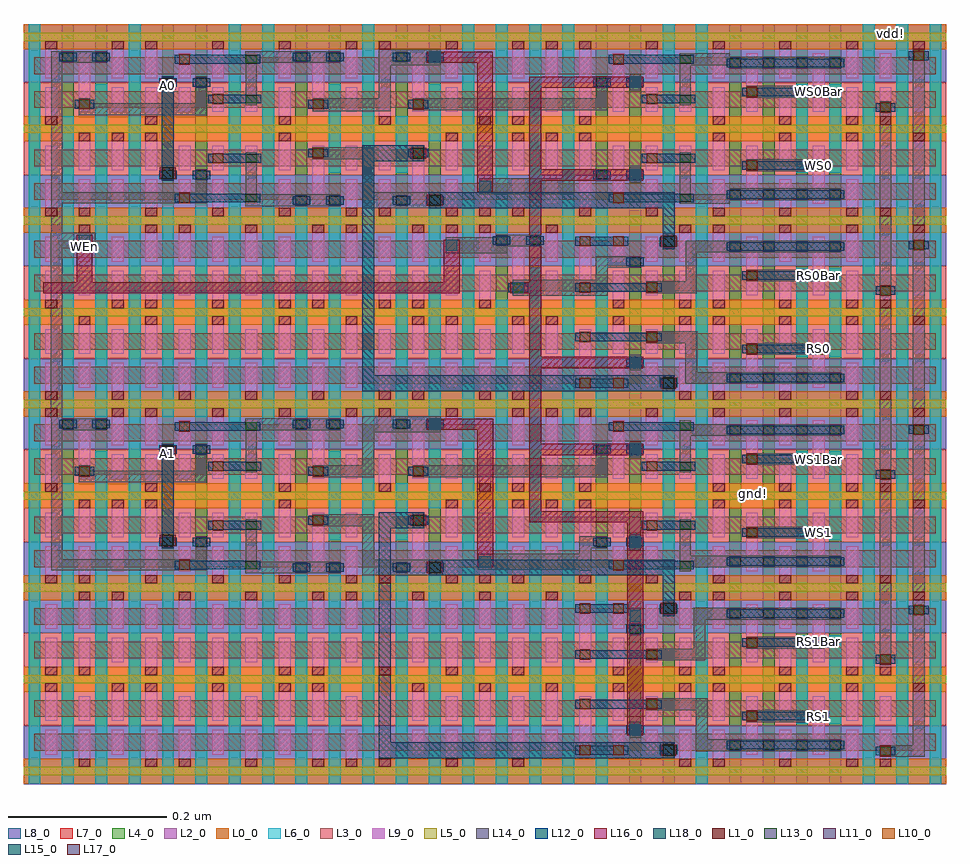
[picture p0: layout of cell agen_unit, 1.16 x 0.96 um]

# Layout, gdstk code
from math import pi, radians
import gdstk
lib = gdstk.Library(unit=1e-6, precision=5e-10)
def R(c, l, rs):  # rectangles x0, y0, x1, y1
    for r in rs: c.add(gdstk.rectangle(r[:2], r[2:], *l))
def A(c, l, x, y, w, h, nx, ny, dx, dy):  # array of equal rectangles
    R(c, l, [(x+i*dx, y+j*dy, x+i*dx+w, y+j*dy+h) for i in range(nx) for j in range(ny)])
L0_0 = (0, 0)
L1_0 = (1, 0)
L2_0 = (2, 0)
L3_0 = (3, 0)
L4_0 = (4, 0)
L5_0 = (5, 0)
L6_0 = (6, 0)
L7_0 = (7, 0)
L8_0 = (8, 0)
L9_0 = (9, 0)
L10_0 = (10, 0)
L11_0 = (11, 0)
L12_0 = (12, 0)
L13_0 = (13, 0)
L14_0 = (14, 0)
L15_0 = (15, 0)
L16_0 = (16, 0)
L17_0 = (17, 0)
L18_0 = (18, 0)

nmos = lib.new_cell('nmos')
R(nmos, L3_0, [(-0.042,-0.0105,0.042,0.0105)])
A(nmos, L4_0, -0.0495, -0.032, 0.015, 0.064, 3, 1, 0.042, 0)
R(nmos, L7_0, [(-0.0555,-0.021,0.0555,0.0205)])
R(nmos, L9_0, [(-0.0285,-0.0155,-0.0135,0.0155), (0.0135,-0.0155,0.0285,0.0155)])

pmos = lib.new_cell('pmos')
R(pmos, L2_0, [(-0.042,-0.0205,0.042,0.0205)])
R(pmos, L3_0, [(-0.042,-0.0105,0.042,0.0105)])
A(pmos, L4_0, -0.0495, -0.032, 0.015, 0.064, 3, 1, 0.042, 0)
R(pmos, L8_0, [(-0.0555,-0.0205,0.0555,0.0205)])
R(pmos, L9_0, [(-0.0285,-0.0155,-0.0135,0.0155), (0.0135,-0.0155,0.0285,0.0155)])

bpr_m0a = lib.new_cell('BPR_M0A')
R(bpr_m0a, L0_0, [(-0.021,-0.0055,0.021,0.026)])
R(bpr_m0a, L1_0, [(-0.0075,-0.0055,0.0075,0.005)])
R(bpr_m0a, L9_0, [(-0.0075,-0.0165,0.0075,0.005)])

m0a_m0b = lib.new_cell('M0A_M0B')
R(m0a_m0b, L9_0, [(-0.0075,-0.0055,0.0075,0.0055)])
R(m0a_m0b, L10_0, [(-0.0065,-0.0065,0.0065,0.0065)])
R(m0a_m0b, L12_0, [(-0.0125,-0.0055,0.0125,0.0055)])

gate_m0b = lib.new_cell('GATE_M0B')
R(gate_m0b, L4_0, [(-0.0075,-0.0115,0.0075,0.0115)])
R(gate_m0b, L11_0, [(-0.0075,-0.0065,0.0075,0.0065)])
R(gate_m0b, L12_0, [(-0.011,-0.0055,0.011,0.0055)])

m0b_m1 = lib.new_cell('M0B_M1')
R(m0b_m1, L12_0, [(-0.011,-0.005,0.011,0.005)])
R(m0b_m1, L13_0, [(-0.007,-0.005,0.007,0.005)])
R(m0b_m1, L14_0, [(-0.007,-0.0075,0.007,0.0075)])

inv = lib.new_cell('inv')
R(inv, L0_0, [(0,0,0.153,0.0315), (0.025,0.006,0.0415,0.016), (0,0.1155,0.153,0.147), (0.11,0.131,0.125,0.1425)])
R(inv, L2_0, [(0,0.0745,0.153,0.147)])
A(inv, L4_0, 0.006, 0, 0.015, 0.147, 4, 1, 0.042, 0)
R(inv, L5_0, [(0,0.0105,0.153,0.021), (0,0.126,0.153,0.1365)])
R(inv, L6_0, [(0.006,0,0.021,0.147), (0.09,0,0.105,0.0715), (0.132,0,0.147,0.147)])
R(inv, L7_0, [(0,0,0.153,0.0745)])
R(inv, L8_0, [(0,0.075,0.153,0.1475)])
R(inv, L9_0, [(0.069,0.068,0.084,0.0795)])
R(inv, L12_0, [(0.0915,0.103,0.1055,0.1095)])
R(inv, L14_0, [(0.071,0.0415,0.0815,0.051), (0.0485,0.0985,0.1045,0.1135)])
inv.add(gdstk.Reference(nmos, (0.0975,0.0525)))
inv.add(gdstk.Reference(nmos, (0.0555,0.0525)))
inv.add(gdstk.Reference(pmos, (0.0975,0.095)))
inv.add(gdstk.Reference(pmos, (0.0555,0.095)))
inv.add(gdstk.Reference(bpr_m0a, (0.0345,0.026), rotation=pi))
inv.add(gdstk.Reference(bpr_m0a, (0.0345,0.121)))
inv.add(gdstk.Reference(bpr_m0a, (0.1185,0.121)))
inv.add(gdstk.Reference(m0a_m0b, (0.0765,0.0465)))
inv.add(gdstk.Reference(gate_m0b, (0.0555,0.106)))
inv.add(gdstk.Reference(gate_m0b, (0.0975,0.106)))
inv.add(gdstk.Reference(m0b_m1, (0.0555,0.106)))
inv.add(gdstk.Reference(m0b_m1, (0.0765,0.0465)))
inv.add(gdstk.Reference(m0b_m1, (0.0975,0.106)))
inv.add(gdstk.Label('vdd!', (0.1175,0.1365), layer=0, texttype=0))
inv.add(gdstk.Label('gnd!', (0.033,0.011), layer=0, texttype=0))
inv.add(gdstk.Label('out', (0.075,0.0435), layer=14, texttype=0))
inv.add(gdstk.Label('in', (0.0985,0.1045), layer=14, texttype=0))

nand = lib.new_cell('nand')
R(nand, L0_0, [(0.1045,0.057,0.2155,0.0885), (0.1465,0.057,0.2995,0.0885), (0.133,0.0665,0.142,0.074), (0.1045,0.1725,0.2155,0.204), (0.1465,0.1725,0.2995,0.204), (0.137,0.192,0.143,0.198)])
R(nand, L2_0, [(0.1045,0.1315,0.2155,0.204), (0.1465,0.1315,0.2995,0.204)])
A(nand, L4_0, 0.1105, 0.057, 0.015, 0.147, 5, 1, 0.042, 0)
R(nand, L4_0, [(0.2785,0.057,0.2935,0.204)])
R(nand, L5_0, [(0.1045,0.0675,0.2995,0.078), (0.1045,0.183,0.2995,0.1935)])
R(nand, L6_0, [(0.1105,0.057,0.1255,0.204), (0.2365,0.057,0.2515,0.204), (0.2785,0.057,0.2935,0.204)])
R(nand, L7_0, [(0.1045,0.057,0.2155,0.1315), (0.1465,0.057,0.2995,0.1315)])
R(nand, L8_0, [(0.1045,0.132,0.2155,0.2045), (0.1465,0.133,0.2995,0.2045)])
R(nand, L12_0, [(0.2105,0.1045,0.2775,0.1155), (0.1685,0.1545,0.276,0.1655)])
R(nand, L14_0, [(0.258,0.1025,0.272,0.1675), (0.1575,0.129,0.162,0.134), (0.2,0.1295,0.204,0.133), (0.262,0.1575,0.2675,0.1625)])
nand.add(gdstk.Reference(nmos, (0.244,0.1095), rotation=pi, x_reflection=True))
nand.add(gdstk.Reference(nmos, (0.16,0.1095), rotation=pi, x_reflection=True))
nand.add(gdstk.Reference(pmos, (0.16,0.152), rotation=pi, x_reflection=True))
nand.add(gdstk.Reference(pmos, (0.202,0.152), rotation=pi, x_reflection=True))
nand.add(gdstk.Reference(pmos, (0.244,0.152), rotation=pi, x_reflection=True))
nand.add(gdstk.Reference(bpr_m0a, (0.139,0.178), rotation=pi, x_reflection=True))
nand.add(gdstk.Reference(bpr_m0a, (0.139,0.083), x_reflection=True))
nand.add(gdstk.Reference(bpr_m0a, (0.223,0.178), rotation=pi, x_reflection=True))
nand.add(gdstk.Reference(m0a_m0b, (0.181,0.16)))
nand.add(gdstk.Reference(m0a_m0b, (0.223,0.11)))
nand.add(gdstk.Reference(m0b_m1, (0.265,0.16)))
nand.add(gdstk.Reference(m0b_m1, (0.265,0.11)))
nand.add(gdstk.Reference(m0b_m1, (0.202,0.131)))
nand.add(gdstk.Reference(m0b_m1, (0.16,0.131)))
nand.add(gdstk.Reference(gate_m0b, (0.202,0.131)))
nand.add(gdstk.Reference(gate_m0b, (0.16,0.131)))
nand.add(gdstk.Label('Y', (0.2645,0.16), layer=14, texttype=0))
nand.add(gdstk.Label('A', (0.1595,0.1315), layer=14, texttype=0))
nand.add(gdstk.Label('B', (0.202,0.131), layer=14, texttype=0))
nand.add(gdstk.Label('gnd!', (0.1375,0.07), layer=0, texttype=0))
nand.add(gdstk.Label('vdd!', (0.14,0.195), layer=0, texttype=0))

sram_filler = lib.new_cell('sram_filler')
R(sram_filler, L0_0, [(0.001,0,0.112,0.0315), (0.072,0.0115,0.084,0.0245), (0.001,0.1155,0.112,0.147), (0.072,0.121,0.0855,0.141)])
R(sram_filler, L2_0, [(0.001,0.0745,0.112,0.147)])
A(sram_filler, L4_0, 0.007, 0, 0.015, 0.147, 3, 1, 0.042, 0)
R(sram_filler, L5_0, [(0.001,0.0105,0.112,0.021), (0.001,0.126,0.112,0.1365)])
A(sram_filler, L6_0, 0.007, 0, 0.015, 0.147, 3, 1, 0.042, 0)
R(sram_filler, L7_0, [(0.001,0,0.112,0.0745)])
R(sram_filler, L8_0, [(0.001,0.075,0.112,0.1475)])
sram_filler.add(gdstk.Reference(nmos, (0.0565,0.0525)))
sram_filler.add(gdstk.Reference(pmos, (0.0565,0.095)))
sram_filler.add(gdstk.Reference(bpr_m0a, (0.0355,0.026), rotation=pi))
sram_filler.add(gdstk.Reference(bpr_m0a, (0.0775,0.121)))

m1_m2 = lib.new_cell('M1_M2')
R(m1_m2, L14_0, [(-0.007,-0.01,0.007,0.01)])
R(m1_m2, L15_0, [(-0.007,-0.007,0.007,0.007)])
R(m1_m2, L16_0, [(-0.01,-0.007,0.01,0.007)])

m2_m3 = lib.new_cell('M2_M3')
R(m2_m3, L16_0, [(-0.01,-0.007,0.01,0.007)])
R(m2_m3, L17_0, [(-0.007,-0.007,0.007,0.007)])
R(m2_m3, L18_0, [(-0.0075,-0.01,0.0075,0.01)])

demux = lib.new_cell('Demux')
R(demux, L14_0, [(0.279,0.0335,0.3425,0.0485), (0.0345,0.0375,0.2305,0.0515), (0.0345,0.0375,0.0485,0.229), (0.2165,0.0375,0.2305,0.0805), (0.3655,0.0975,0.3755,0.105), (0.0695,0.148,0.2305,0.163), (0.2165,0.148,0.2305,0.197), (0.3675,0.1555,0.3725,0.1645), (0.279,0.214,0.3425,0.229), (0.0345,0.215,0.0485,0.229)])
R(demux, L18_0, [(0.1735,0.0665,0.1885,0.196), (0.1745,0.1775,0.1885,0.196)])
demux.add(gdstk.Reference(inv, (0,0.1155)))
demux.add(gdstk.Reference(inv, (0.294,0.1155)))
demux.add(gdstk.Reference(inv, (0.294,0.147), x_reflection=True))
demux.add(gdstk.Reference(nand, (0.0215,0.0585)))
demux.add(gdstk.Reference(nand, (0.0215,0.204), x_reflection=True))
demux.add(gdstk.Reference(sram_filler, (0.154,0.147), rotation=pi))
demux.add(gdstk.Reference(sram_filler, (0.112,0.147), rotation=pi))
demux.add(gdstk.Reference(m1_m2, (0.1815,0.187)))
demux.add(gdstk.Reference(m1_m2, (0.1815,0.0755)))
demux.add(gdstk.Reference(m2_m3, (0.181,0.187)))
demux.add(gdstk.Reference(m2_m3, (0.181,0.0755)))
demux.add(gdstk.Label('y1', (0.3705,0.101), layer=14, texttype=0))
demux.add(gdstk.Label('y0', (0.357,0.161), layer=14, texttype=0))
demux.add(gdstk.Label('Sel', (0.0415,0.222), layer=14, texttype=0))
demux.add(gdstk.Label('A', (0.181,0.1865), layer=18, texttype=0))

nor = lib.new_cell('nor')
R(nor, L0_0, [(0.157,0.0005,0.352,0.032), (0.186,0.009,0.1965,0.016), (0.157,0.116,0.352,0.1475), (0.1885,0.1335,0.1945,0.1415)])
R(nor, L2_0, [(0.157,0.075,0.352,0.1475)])
A(nor, L4_0, 0.163, 0.0005, 0.015, 0.147, 5, 1, 0.042, 0)
R(nor, L5_0, [(0.157,0.011,0.352,0.0215), (0.157,0.1265,0.352,0.137)])
R(nor, L6_0, [(0.163,0.0005,0.178,0.1475), (0.289,0.0005,0.304,0.1475), (0.331,0.0005,0.346,0.1475)])
R(nor, L7_0, [(0.157,0.0005,0.352,0.075)])
R(nor, L8_0, [(0.157,0.075,0.352,0.148)])
R(nor, L9_0, [(0.31,0.0685,0.325,0.08)])
R(nor, L12_0, [(0.221,0.042,0.325,0.053), (0.263,0.1,0.33,0.111)])
R(nor, L14_0, [(0.2315,0.0455,0.2355,0.0495), (0.253,0.0775,0.2565,0.0805), (0.209,0.1035,0.2155,0.1085)])
nor.add(gdstk.Reference(bpr_m0a, (0.1915,0.1215)))
nor.add(gdstk.Reference(bpr_m0a, (0.2755,0.0265), rotation=pi))
nor.add(gdstk.Reference(bpr_m0a, (0.1915,0.0265), rotation=pi))
nor.add(gdstk.Reference(nmos, (0.2965,0.053)))
nor.add(gdstk.Reference(nmos, (0.2545,0.053)))
nor.add(gdstk.Reference(nmos, (0.2125,0.053)))
nor.add(gdstk.Reference(pmos, (0.2965,0.0955)))
nor.add(gdstk.Reference(pmos, (0.2545,0.0955)))
nor.add(gdstk.Reference(pmos, (0.2125,0.0955)))
nor.add(gdstk.Reference(m0b_m1, (0.2545,0.0795)))
nor.add(gdstk.Reference(m0b_m1, (0.2125,0.1055)))
nor.add(gdstk.Reference(m0b_m1, (0.2335,0.0475)))
nor.add(gdstk.Reference(m0a_m0b, (0.3175,0.0475)))
nor.add(gdstk.Reference(m0a_m0b, (0.3175,0.1055)))
nor.add(gdstk.Reference(m0a_m0b, (0.2755,0.1055)))
nor.add(gdstk.Reference(m0a_m0b, (0.2335,0.0475)))
nor.add(gdstk.Reference(gate_m0b, (0.2545,0.0795)))
nor.add(gdstk.Reference(gate_m0b, (0.2125,0.104)))
nor.add(gdstk.Label('Y', (0.2335,0.0475), layer=14, texttype=0))
nor.add(gdstk.Label('B', (0.2545,0.079), layer=14, texttype=0))
nor.add(gdstk.Label('A', (0.212,0.106), layer=14, texttype=0))
nor.add(gdstk.Label('gnd!', (0.191,0.0125), layer=0, texttype=0))
nor.add(gdstk.Label('vdd!', (0.1915,0.1375), layer=0, texttype=0))

invx4 = lib.new_cell('invx4')
R(invx4, L0_0, [(0.006,0,0.243,0.0315), (0.033,0.0045,0.0535,0.0175), (0.006,0.1155,0.243,0.147), (0.194,0.131,0.215,0.143)])
R(invx4, L2_0, [(0.006,0.0745,0.243,0.147)])
A(invx4, L4_0, 0.012, 0, 0.015, 0.147, 6, 1, 0.042, 0)
R(invx4, L5_0, [(0.006,0.0105,0.243,0.021), (0.006,0.126,0.243,0.1365)])
R(invx4, L6_0, [(0.012,0,0.027,0.147), (0.222,0,0.237,0.147), (0.138,0.0315,0.153,0.0715), (0.18,0.0315,0.195,0.0715)])
R(invx4, L7_0, [(0.006,0,0.243,0.0745)])
R(invx4, L8_0, [(0.006,0.075,0.243,0.1475)])
R(invx4, L9_0, [(0.075,0.06,0.09,0.0795), (0.159,0.06,0.174,0.08)])
R(invx4, L12_0, [(0.07,0.0565,0.179,0.0675), (0.0505,0.093,0.1985,0.104)])
R(invx4, L14_0, [(0.0755,0.0545,0.1735,0.0695), (0.0795,0.058,0.0865,0.0645), (0.0545,0.091,0.1945,0.106), (0.079,0.0965,0.0855,0.1015)])
invx4.add(gdstk.Reference(bpr_m0a, (0.2085,0.121)))
invx4.add(gdstk.Reference(bpr_m0a, (0.1245,0.026), rotation=pi))
invx4.add(gdstk.Reference(bpr_m0a, (0.2085,0.026), rotation=pi))
invx4.add(gdstk.Reference(bpr_m0a, (0.0405,0.026), rotation=pi))
invx4.add(gdstk.Reference(bpr_m0a, (0.1245,0.121)))
invx4.add(gdstk.Reference(bpr_m0a, (0.0405,0.121)))
invx4.add(gdstk.Reference(gate_m0b, (0.0615,0.0985)))
invx4.add(gdstk.Reference(gate_m0b, (0.1035,0.0985)))
invx4.add(gdstk.Reference(gate_m0b, (0.1455,0.0985)))
invx4.add(gdstk.Reference(gate_m0b, (0.1875,0.0985)))
invx4.add(gdstk.Reference(m0a_m0b, (0.0825,0.062)))
invx4.add(gdstk.Reference(m0a_m0b, (0.1665,0.062)))
invx4.add(gdstk.Reference(nmos, (0.1875,0.0525)))
invx4.add(gdstk.Reference(nmos, (0.1455,0.0525)))
invx4.add(gdstk.Reference(nmos, (0.0615,0.0525)))
invx4.add(gdstk.Reference(nmos, (0.1035,0.0525)))
invx4.add(gdstk.Reference(pmos, (0.1875,0.095)))
invx4.add(gdstk.Reference(pmos, (0.1455,0.095)))
invx4.add(gdstk.Reference(pmos, (0.1035,0.095)))
invx4.add(gdstk.Reference(pmos, (0.0615,0.095)))
invx4.add(gdstk.Reference(m0b_m1, (0.0615,0.0985)))
invx4.add(gdstk.Reference(m0b_m1, (0.1035,0.0985)))
invx4.add(gdstk.Reference(m0b_m1, (0.1455,0.0985)))
invx4.add(gdstk.Reference(m0b_m1, (0.1875,0.0985)))
invx4.add(gdstk.Reference(m0b_m1, (0.0825,0.062)))
invx4.add(gdstk.Reference(m0b_m1, (0.1665,0.062)))
invx4.add(gdstk.Label('vdd!', (0.2045,0.137), layer=0, texttype=0))
invx4.add(gdstk.Label('gnd!', (0.043,0.011), layer=0, texttype=0))
invx4.add(gdstk.Label('in', (0.082,0.099), layer=14, texttype=0))
invx4.add(gdstk.Label('out', (0.083,0.061), layer=14, texttype=0))

agen_unit = lib.new_cell('agen_unit')
R(agen_unit, L0_0, [(0.9085,-0.046,0.9305,-0.0295), (1.0785,0.5325,1.0985,0.5425)])
A(agen_unit, L6_0, 0.9725, -0.2875, 0.015, 0.0315, 1, 4, 0, 0.231)
A(agen_unit, L6_0, 1.0145, -0.2875, 0.015, 0.0315, 1, 4, 0, 0.231)
R(agen_unit, L6_0, [(0.3425,-0.2875,0.3575,-0.256), (0.3845,-0.2875,0.3995,-0.256), (0.5105,0.015,0.5255,0.018)])
R(agen_unit, L14_0, [(1.078,-0.3695,1.1345,-0.3545), (1.1195,-0.369,1.1345,0.5205), (0.8465,-0.362,0.8615,-0.2955), (0.8465,-0.362,0.889,-0.347), (0.9945,-0.3245,1.008,-0.312), (0.798,-0.3105,0.8615,-0.2955), (1.078,-0.254,1.092,0.4555), (0.798,-0.248,0.858,-0.233), (0.8435,-0.248,0.858,-0.182), (0.9945,-0.2305,1.0075,-0.219), (0.8435,-0.1965,0.889,-0.1815), (0.4265,-0.141,0.4415,-0.064), (0.4415,-0.141,0.528,-0.121), (0.6995,-0.135,0.7145,-0.134), (0.572,-0.134,0.7145,-0.114), (0.6995,-0.134,0.7145,-0.0915), (0.839,-0.131,0.889,-0.116), (0.7145,-0.1065,0.721,-0.0915), (0.9945,-0.0935,1.0075,-0.0805), (0.3635,-0.079,0.4415,-0.064), (0.364,-0.0175,0.4415,-0.0025), (0.4265,-0.0175,0.4415,0.057), (0.49,-0.0175,0.7355,-0.0025), (0.7205,-0.0175,0.7355,0.025), (0.9945,-0.001,1.008,0.012), (0.8395,0.0345,0.889,0.0495), (0.4265,0.0395,0.5255,0.0595), (0.4265,0.042,0.469,0.057), (0.0345,0.057,0.049,0.2705), (0.833,0.1,0.848,0.1665), (0.833,0.1,0.889,0.115), (0.9945,0.1375,1.0075,0.1505), (0.798,0.1515,0.848,0.1665), (0.616,0.211,0.7355,0.231), (0.7205,0.211,0.7355,0.261), (0.7975,0.214,0.847,0.229), (0.8335,0.214,0.8475,0.2805), (0.9945,0.23,1.0075,0.243), (0.7205,0.246,0.777,0.261), (0.5315,0.2645,0.609,0.2845), (0.8335,0.2655,0.889,0.2805), (0.0345,0.2705,0.0905,0.2905), (0.035,0.273,0.049,0.3415), (0.595,0.273,0.651,0.287), (0.4265,0.321,0.511,0.341), (0.4265,0.3235,0.469,0.3385), (0.4265,0.3235,0.4415,0.398), (0.8395,0.3265,0.889,0.339), (0.574,0.339,0.6935,0.359), (0.6785,0.3555,0.735,0.3705), (0.994,0.368,1.008,0.382), (0.3635,0.383,0.4415,0.398), (0.364,0.443,0.462,0.4595), (0.447,0.443,0.4625,0.519), (0.49,0.4445,0.735,0.4595), (0.721,0.4445,0.735,0.487), (0.9945,0.4625,1.008,0.4725), (0.447,0.501,0.511,0.521), (0.839,0.501,0.889,0.516), (0.447,0.504,0.469,0.519)])
R(agen_unit, L16_0, [(0.76,-0.342,0.78,-0.06), (0.571,-0.131,0.5915,0.0565), (0.6365,-0.074,0.717,-0.06), (0.6365,-0.074,0.6515,0.0105), (0.717,-0.074,0.7775,-0.06), (0.6365,0.0105,0.78,0.0245), (0.6365,0.0105,0.6515,0.12), (0.508,0.0425,0.5885,0.0565), (0.6365,0.12,0.78,0.134), (0.6365,0.12,0.6515,0.228), (0.025,0.214,0.547,0.228), (0.067,0.214,0.087,0.287), (0.529,0.214,0.549,0.2815), (0.613,0.214,0.6515,0.228), (0.6365,0.214,0.6515,0.4865), (0.07,0.2625,0.0845,0.284), (0.571,0.342,0.591,0.518), (0.6365,0.356,0.78,0.37), (0.6365,0.4725,0.78,0.4865), (0.528,0.504,0.591,0.518)])
R(agen_unit, L18_0, [(0.4475,-0.371,0.8195,-0.351), (0.4475,-0.371,0.4625,-0.0615), (0.8045,-0.1925,0.8195,-0.121), (0.51,-0.141,0.8195,-0.121), (0.4475,-0.0815,0.5045,-0.0615), (0.175,0.0025,0.1885,0.024), (0.4265,0.091,0.819,0.111), (0.4265,0.0925,0.4415,0.4005), (0.805,0.2695,0.82,0.341), (0.5105,0.321,0.82,0.341), (0.4265,0.3805,0.5045,0.4005), (0.1755,0.4655,0.1885,0.486)])
agen_unit.add(gdstk.Reference(demux, (0.0005,-0.172)))
agen_unit.add(gdstk.Reference(demux, (0.0005,0.29)))
agen_unit.add(gdstk.Reference(inv, (0.5735,-0.025), rotation=pi))
agen_unit.add(gdstk.Reference(inv, (0.4205,-0.0565)))
agen_unit.add(gdstk.Reference(inv, (0.5465,0.1745)))
agen_unit.add(gdstk.Reference(inv, (0.5735,0.437), rotation=pi))
agen_unit.add(gdstk.Reference(inv, (0.4205,0.4055)))
agen_unit.add(gdstk.Reference(m1_m2, (0.518,-0.131)))
agen_unit.add(gdstk.Reference(m1_m2, (0.539,0.2745)))
agen_unit.add(gdstk.Reference(m1_m2, (0.77,-0.335)))
agen_unit.add(gdstk.Reference(m1_m2, (0.812,-0.361)))
agen_unit.add(gdstk.Reference(m1_m2, (0.497,-0.0715)))
agen_unit.add(gdstk.Reference(m1_m2, (0.77,-0.192)))
agen_unit.add(gdstk.Reference(m1_m2, (0.812,-0.1825)))
agen_unit.add(gdstk.Reference(m1_m2, (0.581,-0.124)))
agen_unit.add(gdstk.Reference(m1_m2, (0.518,0.0495)))
agen_unit.add(gdstk.Reference(m1_m2, (0.77,-0.099)))
agen_unit.add(gdstk.Reference(m1_m2, (0.812,0.101)))
agen_unit.add(gdstk.Reference(m1_m2, (0.497,0.3905)))
agen_unit.add(gdstk.Reference(m1_m2, (0.77,0.127)))
agen_unit.add(gdstk.Reference(m1_m2, (0.812,0.2795)))
agen_unit.add(gdstk.Reference(m1_m2, (0.518,0.331)))
agen_unit.add(gdstk.Reference(m1_m2, (0.77,0.363)))
agen_unit.add(gdstk.Reference(m1_m2, (0.581,0.349)))
agen_unit.add(gdstk.Reference(m1_m2, (0.518,0.511)))
agen_unit.add(gdstk.Reference(m1_m2, (0.623,0.221)))
agen_unit.add(gdstk.Reference(m1_m2, (0.77,0.4795)))
agen_unit.add(gdstk.Reference(m1_m2, (0.77,0.0175)))
agen_unit.add(gdstk.Reference(m1_m2, (0.077,0.2805)))
agen_unit.add(gdstk.Reference(nand, (0.568,0.032), x_reflection=True))
agen_unit.add(gdstk.Reference(nand, (0.568,-0.1135)))
agen_unit.add(gdstk.Reference(nand, (0.568,0.494), x_reflection=True))
agen_unit.add(gdstk.Reference(nand, (0.568,0.3485)))
agen_unit.add(gdstk.Reference(sram_filler, (1.1625,-0.256), rotation=pi))
agen_unit.add(gdstk.Reference(sram_filler, (1.0495,-0.2875)))
agen_unit.add(gdstk.Reference(sram_filler, (1.1625,-0.025), rotation=pi))
agen_unit.add(gdstk.Reference(sram_filler, (1.0495,-0.0565)))
agen_unit.add(gdstk.Reference(sram_filler, (1.1625,0.206), rotation=pi))
agen_unit.add(gdstk.Reference(sram_filler, (1.0495,0.1745)))
agen_unit.add(gdstk.Reference(sram_filler, (1.1625,0.437), rotation=pi))
agen_unit.add(gdstk.Reference(sram_filler, (1.0495,0.4055)))
agen_unit.add(gdstk.Reference(sram_filler, (-0.0005,-0.256), x_reflection=True))
agen_unit.add(gdstk.Reference(sram_filler, (0.0835,-0.256), x_reflection=True))
agen_unit.add(gdstk.Reference(sram_filler, (0.1255,-0.256), x_reflection=True))
agen_unit.add(gdstk.Reference(sram_filler, (-0.0005,-0.2875)))
agen_unit.add(gdstk.Reference(sram_filler, (0.0415,-0.2875)))
agen_unit.add(gdstk.Reference(sram_filler, (0.1255,-0.2875)))
agen_unit.add(gdstk.Reference(sram_filler, (0.3355,-0.256), x_reflection=True))
agen_unit.add(gdstk.Reference(sram_filler, (0.2935,-0.256), x_reflection=True))
agen_unit.add(gdstk.Reference(sram_filler, (0.2095,-0.256), x_reflection=True))
agen_unit.add(gdstk.Reference(sram_filler, (0.3355,-0.2875)))
agen_unit.add(gdstk.Reference(sram_filler, (0.2935,-0.2875)))
agen_unit.add(gdstk.Reference(sram_filler, (0.2095,-0.2875)))
agen_unit.add(gdstk.Reference(sram_filler, (0.4195,-0.2875)))
agen_unit.add(gdstk.Reference(sram_filler, (0.5325,-0.256), rotation=pi))
agen_unit.add(gdstk.Reference(sram_filler, (0.4615,0.1745)))
agen_unit.add(gdstk.Reference(sram_filler, (0.5745,0.206), rotation=pi))
agen_unit.add(gdstk.Reference(sram_filler, (0.5035,-0.2875)))
agen_unit.add(gdstk.Reference(sram_filler, (0.6165,-0.256), rotation=pi))
agen_unit.add(gdstk.Reference(sram_filler, (0.7005,-0.256), rotation=pi))
agen_unit.add(gdstk.Reference(sram_filler, (0.5875,-0.2875)))
agen_unit.add(gdstk.Reference(sram_filler, (0.4485,0.206), rotation=pi))
agen_unit.add(gdstk.Reference(sram_filler, (0.3645,0.206), rotation=pi))
agen_unit.add(gdstk.Reference(sram_filler, (0.2805,0.206), rotation=pi))
agen_unit.add(gdstk.Reference(sram_filler, (0.1965,0.206), rotation=pi))
agen_unit.add(gdstk.Reference(sram_filler, (0.1125,0.206), rotation=pi))
agen_unit.add(gdstk.Reference(sram_filler, (0.3355,0.1745)))
agen_unit.add(gdstk.Reference(sram_filler, (0.2935,0.1745)))
agen_unit.add(gdstk.Reference(sram_filler, (0.2095,0.1745)))
agen_unit.add(gdstk.Reference(sram_filler, (0.1255,0.1745)))
agen_unit.add(gdstk.Reference(sram_filler, (0.0835,0.1745)))
agen_unit.add(gdstk.Reference(sram_filler, (-0.0005,0.1745)))
agen_unit.add(gdstk.Reference(sram_filler, (0.7005,-0.025), rotation=pi))
agen_unit.add(gdstk.Reference(sram_filler, (0.6585,-0.025), rotation=pi))
agen_unit.add(gdstk.Reference(sram_filler, (0.5455,-0.0565)))
agen_unit.add(gdstk.Reference(sram_filler, (0.5875,-0.0565)))
agen_unit.add(gdstk.Reference(sram_filler, (0.7005,0.206), rotation=pi))
agen_unit.add(gdstk.Reference(sram_filler, (0.6585,0.206), rotation=pi))
agen_unit.add(gdstk.Reference(sram_filler, (0.7005,0.437), rotation=pi))
agen_unit.add(gdstk.Reference(sram_filler, (0.6585,0.437), rotation=pi))
agen_unit.add(gdstk.Reference(sram_filler, (0.5875,0.4055)))
agen_unit.add(gdstk.Reference(sram_filler, (0.5455,0.4055)))
agen_unit.add(gdstk.Reference(sram_filler, (0.4195,0.1745)))
agen_unit.add(gdstk.Reference(sram_filler, (0.5325,0.206), rotation=pi))
agen_unit.add(gdstk.Reference(m0a_m0b, (1.085,-0.362)))
agen_unit.add(gdstk.Reference(m0a_m0b, (1.085,-0.2465)))
agen_unit.add(gdstk.Reference(m0a_m0b, (1.127,-0.1845)))
agen_unit.add(gdstk.Reference(m0a_m0b, (1.085,-0.014)))
agen_unit.add(gdstk.Reference(m0a_m0b, (1.127,0.0425)))
agen_unit.add(gdstk.Reference(m0a_m0b, (1.085,0.2175)))
agen_unit.add(gdstk.Reference(m0a_m0b, (1.127,0.275)))
agen_unit.add(gdstk.Reference(m0a_m0b, (1.085,0.448)))
agen_unit.add(gdstk.Reference(m0a_m0b, (1.127,0.513)))
agen_unit.add(gdstk.Reference(m0b_m1, (1.085,-0.362)))
agen_unit.add(gdstk.Reference(m0b_m1, (1.085,-0.2465)))
agen_unit.add(gdstk.Reference(m0b_m1, (1.127,-0.1845)))
agen_unit.add(gdstk.Reference(m0b_m1, (1.085,-0.014)))
agen_unit.add(gdstk.Reference(m0b_m1, (1.127,0.0425)))
agen_unit.add(gdstk.Reference(m0b_m1, (1.085,0.2175)))
agen_unit.add(gdstk.Reference(m0b_m1, (1.127,0.275)))
agen_unit.add(gdstk.Reference(m0b_m1, (1.085,0.448)))
agen_unit.add(gdstk.Reference(m0b_m1, (1.127,0.513)))
agen_unit.add(gdstk.Reference(nor, (1.0245,-0.288), rotation=pi, x_reflection=True))
agen_unit.add(gdstk.Reference(nor, (1.0245,-0.2555), rotation=pi))
agen_unit.add(gdstk.Reference(nor, (1.0245,0.2065), rotation=pi))
agen_unit.add(gdstk.Reference(nor, (1.0245,0.174), rotation=pi, x_reflection=True))
agen_unit.add(gdstk.Reference(m2_m3, (0.8125,0.2795)))
agen_unit.add(gdstk.Reference(m2_m3, (0.812,-0.361)))
agen_unit.add(gdstk.Reference(m2_m3, (0.497,-0.0715)))
agen_unit.add(gdstk.Reference(m2_m3, (0.812,-0.1825)))
agen_unit.add(gdstk.Reference(m2_m3, (0.518,-0.131)))
agen_unit.add(gdstk.Reference(m2_m3, (0.812,0.101)))
agen_unit.add(gdstk.Reference(m2_m3, (0.497,0.3905)))
agen_unit.add(gdstk.Reference(m2_m3, (0.518,0.331)))
agen_unit.add(gdstk.Reference(invx4, (0.8345,-0.0565)))
agen_unit.add(gdstk.Reference(invx4, (0.8345,0.206), x_reflection=True))
agen_unit.add(gdstk.Reference(invx4, (0.8345,-0.256), x_reflection=True))
agen_unit.add(gdstk.Reference(invx4, (0.8345,-0.025), x_reflection=True))
agen_unit.add(gdstk.Reference(invx4, (0.8345,-0.2875)))
agen_unit.add(gdstk.Reference(invx4, (0.8345,0.4055)))
agen_unit.add(gdstk.Reference(invx4, (0.8345,0.437), x_reflection=True))
agen_unit.add(gdstk.Reference(invx4, (0.8345,0.1745)))
agen_unit.add(gdstk.Label('A0', (0.182,0.4755), layer=18, texttype=0))
agen_unit.add(gdstk.Label('A1', (0.1815,0.013), layer=18, texttype=0))
agen_unit.add(gdstk.Label('gnd!', (0.9195,-0.0375), layer=0, texttype=0))
agen_unit.add(gdstk.Label('vdd!', (1.091,0.5405), layer=0, texttype=0))
agen_unit.add(gdstk.Label('RS1', (1.001,-0.318), layer=14, texttype=0))
agen_unit.add(gdstk.Label('RS1Bar', (1.001,-0.2245), layer=14, texttype=0))
agen_unit.add(gdstk.Label('WS1', (1.001,-0.087), layer=14, texttype=0))
agen_unit.add(gdstk.Label('WS1Bar', (1.001,0.0055), layer=14, texttype=0))
agen_unit.add(gdstk.Label('RS0', (1.001,0.144), layer=14, texttype=0))
agen_unit.add(gdstk.Label('RS0Bar', (1.001,0.2365), layer=14, texttype=0))
agen_unit.add(gdstk.Label('WS0', (1.001,0.375), layer=14, texttype=0))
agen_unit.add(gdstk.Label('WS0Bar', (1.001,0.4675), layer=14, texttype=0))
agen_unit.add(gdstk.Label('WEn', (0.077,0.273), layer=16, texttype=0))

lib.write_gds('agen_unit.gds')
